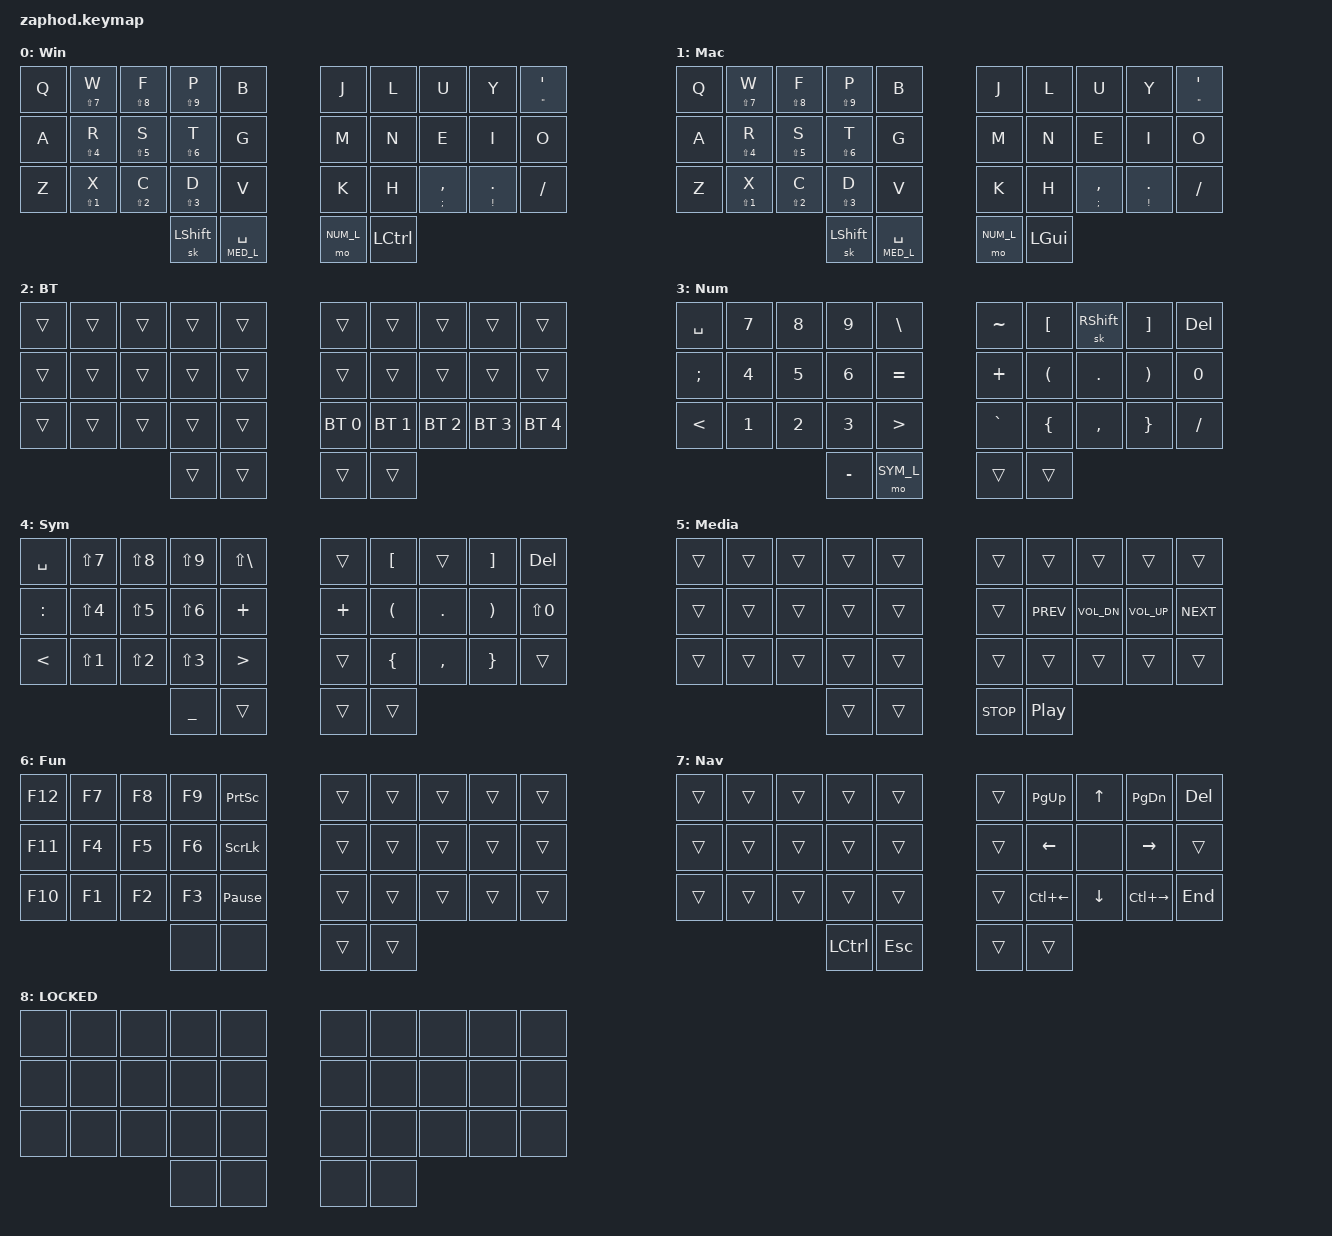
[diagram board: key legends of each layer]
/*
 * Copyright (c) 2021 Pete Johanson
 *
 * SPDX-License-Identifier: MIT
 */

#include <behaviors.dtsi>
#include <dt-bindings/zmk/keys.h>
#include <dt-bindings/zmk/bt.h>
#include <dt-bindings/zmk/outputs.h>

#define MAC_L 1
#define BLT_L 2
#define NUM_L 3
#define SYM_L 4
#define MED_L 5
#define FUN_L 6
#define NAV_L 7
#define LOC_L 8


// Using layer taps on thumbs, having quick tap as well helps w/ repeating space/backspace
&lt { quick_tap_ms = <200>; };
&sk { release-after-ms = <750>; };

/ {
    combos {
        compatible = "zmk,combos";

        fn_mo {
	    timeout-ms = <50>;
            key-positions = <32 33>;
	    layers = <0 1 2 3 4 5 6 7>;
            bindings = <&mo FUN_L>;
        };
	
	combo_ret {
            timeout-ms = <60>;
            key-positions = <23 26>;
	    layers = <0 1 2 3 4 5 6 7>;
            bindings = <&kp RET>;
        };
	
	combo_bksp {
            timeout-ms = <100>;
            key-positions = <14 24>;
	    layers = <0 1 2 3 4 5 6 7>;
            bindings = <&kp BKSP>;
        };
	
	tog_mac {
            timeout-ms = <75>;
            key-positions = <16 17 18 19 32>;
	    layers = <0 1 2 3 4 5 6 7>;
            bindings = <&tog MAC_L>;
        };
	
	tog_bluetooth {
	    timeout-ms = <50>;
            key-positions = <5 9 32>;
	    layers = <0 1 2 3 4 5 6 7>;
            bindings = <&tog BLT_L>;
        };
	tog_num {
	    timeout-ms = <50>;
            key-positions = <30 32>;
	    layers = <0 1 2 3 4 5 6 7>;
            bindings = <&tog NUM_L>;
        };
	
	nav_mo {
	    timeout-ms = <150>;
            key-positions = <11 12 13 20>;
	    layers = <0 1 2 3 4 5 6 7>;
            bindings = <&mo NAV_L>;
	};
	
	thumb_tab {
	    timeout-ms = <55>;
            key-positions = <31 32>;
	    layers = <0 1 2 3 4 5 6 7>;
            bindings = <&kp TAB>;
	};
	
	thumb_alt {
	    timeout-ms = <75>;
            key-positions = <30 33>;
	    layers = <0 1 2 3 4 5 6 7>;
            bindings = <&kp RALT>;
	};

	chg_lang {
	    timeout-ms = <50>;
            key-positions = <0 4 31>;
	    layers = <0 1 2 3 4 5 6 7>;
            bindings = <&kp LG(SPACE)>;
	};
	
	command_lgui {
	    timeout-ms = <50>;
            key-positions = <31 33>;
	    layers = <0 1 2 3 4 5 6 7>;
            bindings = <&kp LCMD>;
	};
	
	bt_clear {
	    timeout-ms = <50>;
            key-positions = <6 7 8 9>;
	    layers = <3>;
            bindings = <&bt BT_CLR>;
	};
	
	lock_board {
	    timeout-ms = <125>;
            key-positions = <1 8 12 13 16 17>;
            bindings = <&tog LOC_L>;
	};
	
	
	//steno punctuation .,!?;
	
	steno_fullstop {
	    timeout-ms = <75>;
            key-positions = <11 12 17 18>;
	    layers = <0 1 2 3 4 5 6 7>;
            bindings = <&kp DOT>;
	};
	
	steno_comma {
	    timeout-ms = <75>;
            key-positions = <21 22 27 28>;
	    layers = <0 1 2 3 4 5 6 7>;
            bindings = <&kp COMMA>;
	};
	
	steno_exclam {
	    timeout-ms = <75>;
            key-positions = <11 12 27 28>;
	    layers = <0 1 2 3 4 5 6 7>;
            bindings = <&kp EXCL>;
	};
	
	steno_ques {
	    timeout-ms = <75>;
            key-positions = <21 22 17 18>;
	    layers = <0 1 2 3 4 5 6 7>;
            bindings = <&kp QMARK>;
	};
	
	semicol {
	    timeout-ms = <75>;
            key-positions = <1 2 7 8>;
	    layers = <0 1 2 3 4 5 6 7>;
            bindings = <&kp SEMI>;
	};

    };

    behaviors {
        hm: homerow_mods {
            compatible = "zmk,behavior-hold-tap";
            label = "homerow mods";
            #binding-cells = <2>;
            tapping_term_ms = <150>;
            flavor = "tap-preferred";
            bindings = <&kp>, <&kp>;
        };
	
	lm: long_mods {
            compatible = "zmk,behavior-hold-tap";
            label = "long hm mods";
            #binding-cells = <2>;
            tapping_term_ms = <210>;
            flavor = "tap-preferred";
            bindings = <&kp>, <&kp>;
        };
    };

    keymap {
        compatible = "zmk,keymap";

        default_layer {
            label = "Win";
            bindings = <
                &kp Q      &lm LS(N7) W      &lm LS(N8) F        &lm LS(N9) P         &kp B         &kp J            &kp L          &kp U       &kp Y      &hm DQT QUOT
                &kp A	   &lm LS(N4) R      &lm LS(N5) S        &lm LS(N6) T         &kp G         &kp M            &kp N          &kp E       &kp I      &kp O
                &kp Z 	   &lm LS(N1) X      &lm LS(N2) C        &lm LS(N3) D         &kp V         &kp K            &kp H          &hm SEMI COMMA   &hm EXCL DOT &kp FSLH
                                                  &sk LSHFT	 &lt MED_L SPACE      &mo NUM_L	    &kp LCTRL
            >;
        };
	
	mac_layer {
            label = "Mac";
            bindings = <
                &kp Q      &lm LS(N7) W      &lm LS(N8) F        &lm LS(N9) P         &kp B         &kp J            &kp L          &kp U       &kp Y      &hm DQT QUOT
                &kp A	   &lm LS(N4) R      &lm LS(N5) S        &lm LS(N6) T         &kp G         &kp M            &kp N          &kp E       &kp I      &kp O
                &kp Z 	   &lm LS(N1) X      &lm LS(N2) C        &lm LS(N3) D         &kp V         &kp K            &kp H          &hm SEMI COMMA   &hm EXCL DOT &kp FSLH
                                                  &sk LSHFT	 &lt MED_L SPACE      &mo NUM_L	    &kp LGUI
            >;
	};

        bluetooth_layer {
            label = "BT";
            bindings = <
                &trans	   &trans     &trans      &trans          &trans       &trans           &trans         &trans       &trans	 &trans
                &trans     &trans     &trans      &trans          &trans       &trans           &trans         &trans       &trans       &trans
                &trans     &trans     &trans      &trans          &trans       &bt BT_SEL 0     &bt BT_SEL 1   &bt BT_SEL 2 &bt BT_SEL 3 &bt BT_SEL 4
                                                  &trans          &trans       &trans           &trans
            >;
        };

        num_layer {
            label = "Num";
            bindings = <	

                &kp SPACE  &kp N7     &kp N8      &kp N9          &kp BSLH      &kp TILDE       &kp LBKT        &sk RSHFT   &kp RBKT     &kp DEL
                &kp SEMI   &kp N4     &kp N5	  &kp N6       	  &kp EQUAL     &kp PLUS        &kp LPAR        &kp DOT     &kp RPAR     &kp N0
                &kp LT	   &kp N1     &kp N2      &kp N3          &kp GT        &kp GRAVE       &kp LBRC        &kp COMMA   &kp RBRC     &kp FSLH
                                                  &kp MINUS       &mo SYM_L     &trans          &trans
            >;
        };
	
	sym_layer {
            label = "Sym";
            bindings = <
                &kp SPACE    &kp LS(N7)  &kp LS(N8)  &kp LS(N9) &kp LS(BSLH)    &trans          &kp LBKT        &trans	    &kp RBKT     &kp DEL
                &kp COLON    &kp LS(N4)  &kp LS(N5)  &kp LS(N6) &kp PLUS        &kp PLUS        &kp LPAR        &kp DOT     &kp RPAR     &kp LS(N0)
                &kp LT       &kp LS(N1)  &kp LS(N2)  &kp LS(N3) &kp GT          &trans          &kp LBRC        &kp COMMA   &kp RBRC     &trans
                                                     &kp UNDER  &trans          &trans 		&trans
            >;
        };


        media_layer {
            label = "Media";
            bindings = <
                &trans	   &trans     &trans      &trans          &trans       &trans           &trans         &trans       &trans       &trans
                &trans     &trans     &trans      &trans          &trans       &trans           &kp C_PREV     &kp C_VOL_DN &kp C_VOL_UP &kp C_NEXT
                &trans     &trans     &trans      &trans          &trans       &trans           &trans         &trans       &trans       &trans
                                                  &trans          &trans       &kp C_STOP       &kp C_PLAY_PAUSE
            >;
        };

        fun_layer {
            label = "Fun";
            bindings = <
                &kp F12     &kp F7     &kp F8      &kp F9     &kp PSCRN         &trans          &trans         &trans      &trans     &trans
                &kp F11     &kp F4     &kp F5      &kp F6     &kp SLCK          &trans          &trans         &trans      &trans     &trans
                &kp F10     &kp F1     &kp F2      &kp F3     &kp PAUSE_BREAK   &trans          &trans         &trans      &trans     &trans
                                                   &none      &none             &trans          &trans
            >;
        };
	
        nav_layer {
            label = "Nav";
            bindings = <
                &trans     &trans     &trans      &trans          &trans       &trans           &kp PG_UP    &kp UP    &kp PG_DN     &kp DEL
                &trans     &trans     &trans      &trans          &trans       &trans           &kp LEFT     &none     &kp RIGHT     &trans
                &trans     &trans     &trans      &trans          &trans       &trans           &kp LC(LEFT) &kp DOWN  &kp LC(RIGHT) &kp END
                                                  &kp LCTRL       &kp ESC      &trans	        &trans
            >;
        };
	
	locked_layer {
            label = "LOCKED";
            bindings = <
                &none      &none      &none        &none      &none          	&none          &none         &none      &none     &none
                &none      &none      &none        &none      &none          	&none          &none         &none      &none     &none
                &none      &none      &none        &none      &none   		&none          &none         &none      &none     &none
                                                   &none      &none             &none          &none          
            >;
        };
    };
};
